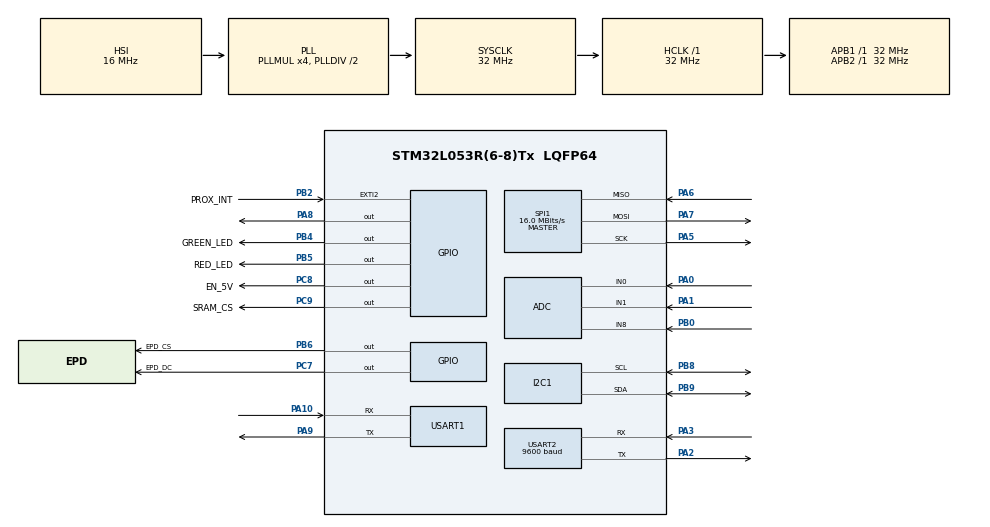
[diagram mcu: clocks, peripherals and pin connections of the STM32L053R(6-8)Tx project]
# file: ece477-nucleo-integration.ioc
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Mcu.Family=STM32L0
PA6.Mode=Full_Duplex_Master
Dma.ADC.0.Mode=DMA_CIRCULAR
SPI1.VirtualType=VM_MASTER
NVIC.TIM6_DAC_IRQn=true\:2\:0\:true\:true\:true\:1\:true\:true
Dma.ADC.0.Priority=DMA_PRIORITY_LOW
VP_RTC_VS_RTC_Activate.Mode=RTC_Enabled
RTC.WeekDay=RTC_WEEKDAY_MONDAY
PB6.GPIO_Label=EPD_CS
RCC.SYSCLKSource=RCC_SYSCLKSOURCE_PLLCLK
ProjectManager.StackSize=0x400
PB2.GPIO_ModeDefaultEXTI=GPIO_MODE_IT_FALLING
Dma.ADC.0.PeriphInc=DMA_PINC_DISABLE
SPI1.Direction=SPI_DIRECTION_2LINES
RCC.HCLKFreq_Value=32000000
RCC.APB2TimFreq_Value=32000000
PB6.Signal=GPIO_Output
PC7.Signal=GPIO_Output
SPI1.CalculateBaudRate=16.0 MBits/s
Dma.USART1_RX.1.MemInc=DMA_MINC_ENABLE
RCC.AHBFreq_Value=32000000
Dma.ADC.0.Direction=DMA_PERIPH_TO_MEMORY
ADC.SamplingTime=ADC_SAMPLETIME_160CYCLES_5
RCC.HSE_VALUE=8000000
RTC.Minutes=35
Dma.USART1_RX.1.PeriphDataAlignment=DMA_PDATAALIGN_BYTE
PB2.Signal=GPXTI2
USART2.VirtualMode-Asynchronous=VM_ASYNC
RCC.PLLMUL=RCC_PLLMUL_4
RTC.Month=RTC_MONTH_APRIL
PA0.Mode=IN0
PA8.Signal=GPIO_Output
TIM6.Period=64000-1
PB2.GPIO_PuPd=GPIO_PULLDOWN
PA0.Signal=ADC_IN0
Dma.ADC.0.MemInc=DMA_MINC_ENABLE
Dma.USART1_RX.1.Mode=DMA_NORMAL
PB9.Signal=I2C1_SDA
Mcu.Package=LQFP64
PA6.Signal=SPI1_MISO
PA0.GPIO_PuPd=GPIO_NOPULL
Dma.ADC.0.Instance=DMA1_Channel1
PA10.Signal=USART1_RX
VP_RTC_VS_RTC_Calendar.Mode=RTC_Calendar
Dma.USART1_RX.1.PeriphInc=DMA_PINC_DISABLE
Dma.ADC.0.MemDataAlignment=DMA_MDATAALIGN_WORD
PB5.GPIO_Label=RED_LED
Dma.Request1=USART1_RX
RCC.APB1TimFreq_Value=32000000
Dma.USART1_RX.1.Priority=DMA_PRIORITY_LOW
PA6.GPIO_Speed=GPIO_SPEED_FREQ_MEDIUM
Dma.Request0=ADC
RCC.HSI48_VALUE=48000000
PB4.Signal=GPIO_Output
PA3.Signal=USART2_RX
PA5.Mode=Full_Duplex_Master
RCC.MSI_VALUE=2097000
Dma.USART1_RX.1.Instance=DMA1_Channel3
Dma.USART1_RX.1.MemDataAlignment=DMA_MDATAALIGN_BYTE
PA7.Mode=Full_Duplex_Master
PA10.Mode=Asynchronous
PC9.GPIO_Label=SRAM_CS
PC8.Signal=GPIO_Output
TIM6.Prescaler=64000 -1
VP_TIM6_VS_ClockSourceINT.Mode=Enable_Timer
ADC.LowPowerAutoWait=DISABLE
ADC.ClockPrescaler=ADC_CLOCK_ASYNC_DIV64
USART2.BaudRate=9600
Dma.ADC.0.PeriphDataAlignment=DMA_PDATAALIGN_WORD
ADC.EnableAnalogWatchDog=true
PC8.GPIO_Label=EN_5V
USART1.VirtualMode-Asynchronous=VM_ASYNC
PA3.Mode=Asynchronous
RCC.HSI16_VALUE=16000000
PA9.Mode=Asynchronous
RTC.TimeFormat=RTC_HOURFORMAT12_PM
ProjectManager.TargetToolchain=STM32CubeIDE
RTC.Year=21
PB9.Mode=I2C
PA9.Signal=USART1_TX
I2C1.Timing=0x00707CBB
RCC.LSE_VALUE=32768
PA1.Signal=ADC_IN1
PA5.Signal=SPI1_SCK
ADC.DMAContinuousRequests=ENABLE
PB0.Mode=IN8
board=custom
PC7.GPIO_Speed=GPIO_SPEED_FREQ_MEDIUM
RCC.VCOOutputFreq_Value=64000000
PA7.GPIO_Speed=GPIO_SPEED_FREQ_MEDIUM
NVIC.EXTI2_3_IRQn=true\:2\:0\:true\:false\:true\:true\:true
RCC.APB2Freq_Value=32000000
PA1.Mode=IN1
PB4.GPIO_Label=GREEN_LED
SPI1.Mode=SPI_MODE_MASTER
Mcu.Name=STM32L053R(6-8)Tx
PA2.Signal=USART2_TX
PC7.GPIO_Label=EPD_DC
RCC.SYSCLKFreq_VALUE=32000000
RTC.Hours=2
PB5.Signal=GPIO_Output
PB2.GPIO_Label=PROX_INT
RTC.HourFormat=RTC_HOURFORMAT_12
ProjectManager.HeapSize=0x2000
ADC.HighThreshold=2048
ADC.WatchdogChannel=ADC_CHANNEL_1
RCC.HSI_VALUE=16000000
PA5.GPIO_Speed=GPIO_SPEED_FREQ_MEDIUM
PB8.Mode=I2C
NVIC.DMA1_Channel2_3_IRQn=true\:0\:0\:false\:false\:true\:false\:true
PA2.Mode=Asynchronous
PB8.Signal=I2C1_SCL
Dma.USART1_RX.1.Direction=DMA_PERIPH_TO_MEMORY
PC9.Signal=GPIO_Output
NVIC.DMA1_Channel1_IRQn=true\:3\:0\:true\:false\:true\:true\:true
ADC.ITMode=ENABLE
PB6.GPIO_Speed=GPIO_SPEED_FREQ_MEDIUM
RCC.APB1Freq_Value=32000000
PB0.Signal=ADC_IN8
ADC.ContinuousConvMode=ENABLE
RTC.Date=26
NVIC.ADC1_COMP_IRQn=true\:2\:0\:true\:false\:true\:true\:true
PA7.Signal=SPI1_MOSI

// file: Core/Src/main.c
/* USER CODE BEGIN Header */
/**
  ******************************************************************************
  * @file           : main.c
  * @brief          : Main program body
  ******************************************************************************
  * @attention
  *
  * <h2><center>&copy; Copyright (c) 2021 STMicroelectronics.
  * All rights reserved.</center></h2>
  *
  * This software component is licensed by ST under BSD 3-Clause license,
  * the "License"; You may not use this file except in compliance with the
  * License. You may obtain a copy of the License at:
  *                        opensource.org/licenses/BSD-3-Clause
  *
  ******************************************************************************
  */
/* USER CODE END Header */
#include "main.h"
#include "adc.h"
#include "dma.h"
#include "i2c.h"
#include "rtc.h"
#include "spi.h"
#include "tim.h"
#include "usart.h"
#include "gpio.h"

/* USER CODE BEGIN Includes */
#include "hts221.h"
#include "bq27441.h"
#include "vcnl4010.h"
#include "serial_print.h"
#include "epd.h"
#include "epd_gfx.h"
#include "at_commands.h"
#include "main_gui.c"
#include "sram.h"

/* USER CODE END Includes */

/* USER CODE BEGIN PV */

unsigned char UART1_rxBuffer[20] = {0};
bool bq_init_ret;
enum battery_state batteryState = LOW;
enum system_state systemState = WAITING;
uint32_t adc_dma_buffer[9];
unsigned char prediction_str[2];
extern DMA_HandleTypeDef hdma_adc;
bool food_present = false;
extern uint32_t buffer1_size;
extern uint8_t *buffer1;
enum fruit_type fruit_selection = NONE;
extern float r0;
extern HTS_Cal hts_cal_data;
extern uint8_t current_day;
extern RTC_TimeTypeDef sTime1;
extern RTC_DateTypeDef sDate1;

/* USER CODE END PV */

void SystemClock_Config(void);
static void MX_NVIC_Init(void);
/* USER CODE BEGIN PFP */
void display_setup(void);
/* USER CODE END PFP */

/* USER CODE BEGIN 0 */
void display_setup() {
  serial_printf("Initializing display... ");
  epd_init(false);
  serial_println("Done!");

  serial_printf("Setting display rotation... ");
  set_rotation(2);
  serial_println("Done!");

  serial_printf("Clearing display buffers... ");
  clear_buffer();
  epd_powerUp();
  write_RAM_to_epd(buffer1, buffer1_size, 1, false);
//  display(false);
  serial_println("Done!");

  serial_printf("Drawing bitmap to buffer... ");
  draw_bitmap(0, 0, main_select, EPD_WIDTH, EPD_HEIGHT, EPD_BLACK);
  display(false);
  serial_println("Done!\n");
}

void HAL_ADC_LevelOutOfWindowCallback(ADC_HandleTypeDef* hadc) {
    serial_println("*** ADC WATCHDOG INTERRUPT ***");

    // Change the thresholds
    uint32_t curr_upper = (hadc->Instance->TR >> 16) & 0x00000FFF;
    uint32_t curr_lower = (hadc->Instance->TR & 0x00000FFF);

    if (curr_upper != 0x0FFF) { //  we trig'd because something was placed onto the sensor
        serial_println("Something was placed on me!");
        food_present = true;

        // change upper threshold to max so that it can't be triggered due to something sitting on the pressure sensor
        hadc->Instance->TR = (0x0FFF << 16);
        hadc->Instance->TR |= curr_upper;
    } else {
        serial_println("Something was removed from me!");
        food_present = false;

        hadc->Instance->TR = (curr_lower << 16);
        hadc->Instance->TR &= ~(0x0000FFFF); // clear the lower threshold
    }

    serial_println("*** END OF ADC WATCHDOG INTERRUPT ***\n");
}
/* USER CODE END 0 */

int main(void)
{

  /* MCU Configuration--------------------------------------------------------*/

  /* Reset of all peripherals, Initializes the Flash interface and the Systick. */
  HAL_Init();

  /* Configure the system clock */
  SystemClock_Config();

  /* Initialize all configured peripherals */
  MX_GPIO_Init();
  MX_DMA_Init();
  MX_I2C1_Init();
  MX_USART2_UART_Init();
  MX_TIM6_Init();
  MX_SPI1_Init();
  MX_ADC_Init();
  MX_USART1_UART_Init();
  MX_RTC_Init();

  /* Initialize interrupts */
  MX_NVIC_Init();
  /* USER CODE BEGIN 2 */

  // set busy pins while setting up
  HAL_GPIO_WritePin(RED_LED_GPIO_Port, RED_LED_Pin, GPIO_PIN_SET);
  HAL_GPIO_WritePin(GREEN_LED_GPIO_Port, GREEN_LED_Pin, GPIO_PIN_RESET);

  // Disable prox interrupt while refreshing display
  VCNL4010_disable_Interrupt();

  //Start Receive Buffer From ESP 8266
  HAL_UART_Receive_DMA(&huart1, UART1_rxBuffer, 20);

  // Setup display and I2C peripherals
  serial_select(DEBUG_PRINT);
  serial_clear();
  display_setup();
  serial_printf("Initializing I2C peripherals... ");
  hts221_init();

  bq_init_ret = bq_init();
  VCNL4010_setLEDcurrent(20);
  VCNL4010_enable_Interrupt();
  serial_println("Done!");

  if (HAL_ADC_Start_DMA(&hadc, adc_dma_buffer, 9) != HAL_OK) {
    serial_println("!!! Failed to start ADC DMA");
  } else {
    serial_println("ADC DMA started OK");
  }
  HAL_Delay(100);

  ADC_calc_r0();
  serial_printf("Methane r0: %d\n", (int) r0);

  // Reset busy LED and set ready LED
  HAL_GPIO_WritePin(RED_LED_GPIO_Port, RED_LED_Pin, GPIO_PIN_RESET);
  HAL_GPIO_WritePin(GREEN_LED_GPIO_Port, GREEN_LED_Pin, GPIO_PIN_SET);
  /* USER CODE END 2 */

  /* Infinite loop */
  while (1)
  {

    /* USER CODE BEGIN 3 */
    if (systemState == WAITING) {
      serial_printf("ADC[0] = 0x%x\n", adc_dma_buffer[0]);
      serial_printf("ADC[1] = 0x%x\n", adc_dma_buffer[1]);
      serial_printf("ADC[8] = 0x%x\n", adc_dma_buffer[8]);
      HAL_Delay(500);

      while (adc_dma_buffer[8] > 3000) {
//    	  serial_println("Waiting for fruit selection..."); //wait
        asm("nop");
      }
      if (adc_dma_buffer[8] > 1500) {
        // D
        serial_println("D");
        fruit_selection = MANGO;
      }
      else if (adc_dma_buffer[8] > 1000) {
        // C
        serial_println("C");
        fruit_selection = LIME;
      }
      else if (adc_dma_buffer[8] > 500) {
        // B
        serial_println("B");
        fruit_selection = BANANA;
      }
      else {
        // A
        serial_println("A");
        fruit_selection = APPLE;
      }
      HAL_GPIO_WritePin(RED_LED_GPIO_Port, RED_LED_Pin, GPIO_PIN_RESET);
      HAL_GPIO_WritePin(GREEN_LED_GPIO_Port, GREEN_LED_Pin, GPIO_PIN_RESET);
      systemState = MONITORING_SETUP;
    }

    else if(systemState == MONITORING_SETUP){
      if (food_present) {
        serial_println("Food has been placed, starting monitoring!");
        //init days elapsed ...
        HAL_RTC_GetTime(&hrtc, &sTime1, RTC_FORMAT_BCD);
        HAL_RTC_GetDate(&hrtc, &sDate1, RTC_FORMAT_BCD);
        current_day = sDate1.Date;

        systemState = MONITORING;
        VCNL4010_setLEDcurrent(20);
        VCNL4010_enable_Interrupt();
        HAL_TIM_Base_Start_IT(&htim6);
      }
      else {
        serial_println("Waiting for food!");
      }
    }

    else if (systemState == MONITORING) {
      //Prox_inturrupt debug
//      serial_printf("Prox. Sesnor %d\n", VCNL4010_readProximity());
//      VCNL4010_readProximity();

      if (food_present == false) {
          HAL_TIM_Base_Stop_IT(&htim6);
          VCNL4010_disable_Interrupt();
          VCNL4010_setLEDcurrent(0);
          serial_println("Food is not present! Resarting to food selection screen.");
          // if statement to allow return to waiting state
          systemState = WAITING;
          //update display for food selection screen
          display_setup();
        }
        else {
//          serial_println("Food present! Monitoring");
        }
    }
  }
  /* USER CODE END 3 */
}

void SystemClock_Config(void)
{
  RCC_OscInitTypeDef RCC_OscInitStruct = {0};
  RCC_ClkInitTypeDef RCC_ClkInitStruct = {0};
  RCC_PeriphCLKInitTypeDef PeriphClkInit = {0};

  /** Configure the main internal regulator output voltage
  */
  __HAL_PWR_VOLTAGESCALING_CONFIG(PWR_REGULATOR_VOLTAGE_SCALE1);
  /** Initializes the RCC Oscillators according to the specified parameters
  * in the RCC_OscInitTypeDef structure.
  */
  RCC_OscInitStruct.OscillatorType = RCC_OSCILLATORTYPE_HSI|RCC_OSCILLATORTYPE_LSI;
  RCC_OscInitStruct.HSIState = RCC_HSI_ON;
  RCC_OscInitStruct.HSICalibrationValue = RCC_HSICALIBRATION_DEFAULT;
  RCC_OscInitStruct.LSIState = RCC_LSI_ON;
  RCC_OscInitStruct.PLL.PLLState = RCC_PLL_ON;
  RCC_OscInitStruct.PLL.PLLSource = RCC_PLLSOURCE_HSI;
  RCC_OscInitStruct.PLL.PLLMUL = RCC_PLLMUL_4;
  RCC_OscInitStruct.PLL.PLLDIV = RCC_PLLDIV_2;
  if (HAL_RCC_OscConfig(&RCC_OscInitStruct) != HAL_OK)
  {
    Error_Handler();
  }
  /** Initializes the CPU, AHB and APB buses clocks
  */
  RCC_ClkInitStruct.ClockType = RCC_CLOCKTYPE_HCLK|RCC_CLOCKTYPE_SYSCLK
                              |RCC_CLOCKTYPE_PCLK1|RCC_CLOCKTYPE_PCLK2;
  RCC_ClkInitStruct.SYSCLKSource = RCC_SYSCLKSOURCE_PLLCLK;
  RCC_ClkInitStruct.AHBCLKDivider = RCC_SYSCLK_DIV1;
  RCC_ClkInitStruct.APB1CLKDivider = RCC_HCLK_DIV1;
  RCC_ClkInitStruct.APB2CLKDivider = RCC_HCLK_DIV1;

  if (HAL_RCC_ClockConfig(&RCC_ClkInitStruct, FLASH_LATENCY_1) != HAL_OK)
  {
    Error_Handler();
  }
  PeriphClkInit.PeriphClockSelection = RCC_PERIPHCLK_USART1|RCC_PERIPHCLK_USART2
                              |RCC_PERIPHCLK_I2C1|RCC_PERIPHCLK_RTC;
  PeriphClkInit.Usart1ClockSelection = RCC_USART1CLKSOURCE_PCLK2;
  PeriphClkInit.Usart2ClockSelection = RCC_USART2CLKSOURCE_PCLK1;
  PeriphClkInit.I2c1ClockSelection = RCC_I2C1CLKSOURCE_PCLK1;
  PeriphClkInit.RTCClockSelection = RCC_RTCCLKSOURCE_LSI;
  if (HAL_RCCEx_PeriphCLKConfig(&PeriphClkInit) != HAL_OK)
  {
    Error_Handler();
  }
}

/**
  * @brief NVIC Configuration.
  * @retval None
  */
static void MX_NVIC_Init(void)
{
  /* TIM6_DAC_IRQn interrupt configuration */
  HAL_NVIC_SetPriority(TIM6_DAC_IRQn, 2, 0);
  HAL_NVIC_EnableIRQ(TIM6_DAC_IRQn);
}

/* USER CODE BEGIN 4 */
void HAL_UART_RxCpltCallback(UART_HandleTypeDef *huart){
  //once buffer is full - restart
  HAL_UART_Receive_DMA(&huart1, UART1_rxBuffer, 20);
}
/* USER CODE END 4 */

void Error_Handler(void)
{
  __disable_irq();
  while (1)
  {
  }
}

/************************ (C) COPYRIGHT STMicroelectronics *****END OF FILE****/
